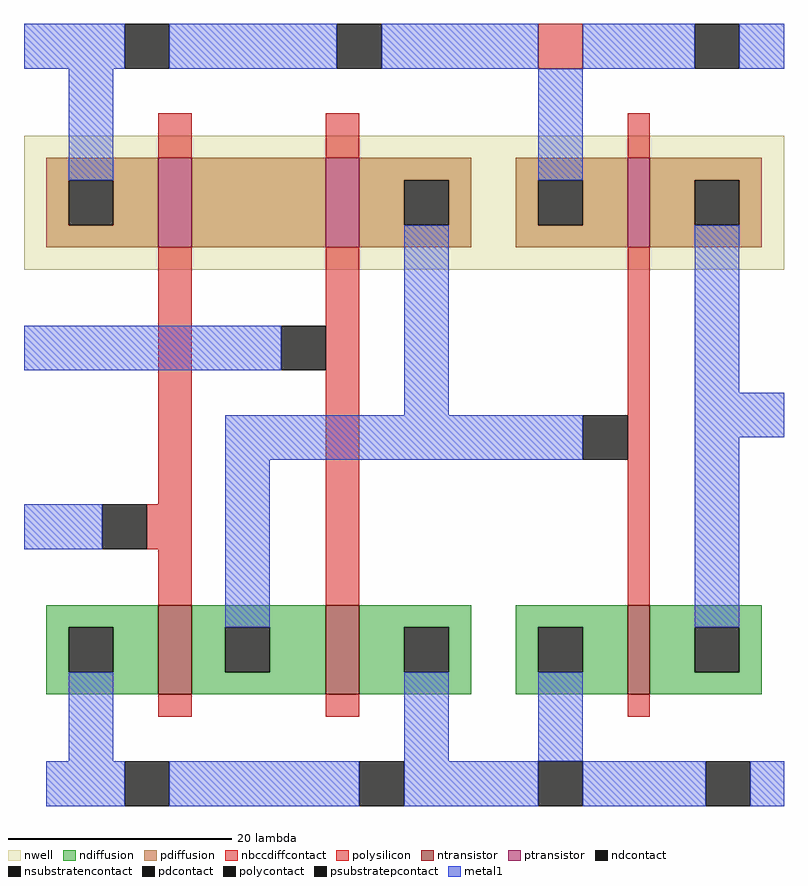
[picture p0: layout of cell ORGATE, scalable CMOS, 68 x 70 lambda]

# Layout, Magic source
magic
tech scmos
<< nwell >>
rect 19 63 87 75
<< polysilicon >>
rect 31 73 34 77
rect 46 73 49 77
rect 73 73 75 77
rect 31 42 34 65
rect 30 38 34 42
rect 31 33 34 38
rect 46 33 49 65
rect 73 33 75 65
rect 31 23 34 25
rect 46 23 49 25
rect 73 23 75 25
<< ndiffusion >>
rect 21 31 31 33
rect 21 27 23 31
rect 27 27 31 31
rect 21 25 31 27
rect 34 31 46 33
rect 34 27 37 31
rect 41 27 46 31
rect 34 25 46 27
rect 49 31 59 33
rect 49 27 53 31
rect 57 27 59 31
rect 49 25 59 27
rect 63 31 73 33
rect 63 27 65 31
rect 69 27 73 31
rect 63 25 73 27
rect 75 31 85 33
rect 75 27 79 31
rect 83 27 85 31
rect 75 25 85 27
<< pdiffusion >>
rect 21 71 31 73
rect 21 67 23 71
rect 27 67 31 71
rect 21 65 31 67
rect 34 65 46 73
rect 49 71 59 73
rect 49 67 53 71
rect 57 67 59 71
rect 49 65 59 67
rect 63 71 73 73
rect 63 67 65 71
rect 69 67 73 71
rect 63 65 73 67
rect 75 71 85 73
rect 75 67 79 71
rect 83 67 85 71
rect 75 65 85 67
<< metal1 >>
rect 19 81 28 85
rect 32 81 47 85
rect 51 81 65 85
rect 69 81 79 85
rect 83 81 87 85
rect 23 71 27 81
rect 65 71 69 81
rect 19 54 42 58
rect 53 50 57 67
rect 79 52 83 67
rect 37 46 69 50
rect 79 48 87 52
rect 19 38 26 42
rect 37 31 41 46
rect 79 31 83 48
rect 23 19 27 27
rect 53 19 57 27
rect 65 19 69 27
rect 21 15 28 19
rect 32 15 49 19
rect 53 15 65 19
rect 69 15 80 19
rect 84 15 87 19
<< ntransistor >>
rect 31 25 34 33
rect 46 25 49 33
rect 73 25 75 33
<< ptransistor >>
rect 31 65 34 73
rect 46 65 49 73
rect 73 65 75 73
<< polycontact >>
rect 42 54 46 58
rect 26 38 30 42
rect 69 46 73 50
<< ndcontact >>
rect 23 27 27 31
rect 37 27 41 31
rect 53 27 57 31
rect 65 27 69 31
rect 79 27 83 31
<< pdcontact >>
rect 23 67 27 71
rect 53 67 57 71
rect 65 67 69 71
rect 79 67 83 71
<< nbccdiffcontact >>
rect 65 81 69 85
<< psubstratepcontact >>
rect 28 15 32 19
rect 49 15 53 19
rect 65 15 69 19
rect 80 15 84 19
<< nsubstratencontact >>
rect 28 81 32 85
rect 47 81 51 85
rect 79 81 83 85
<< end >>
